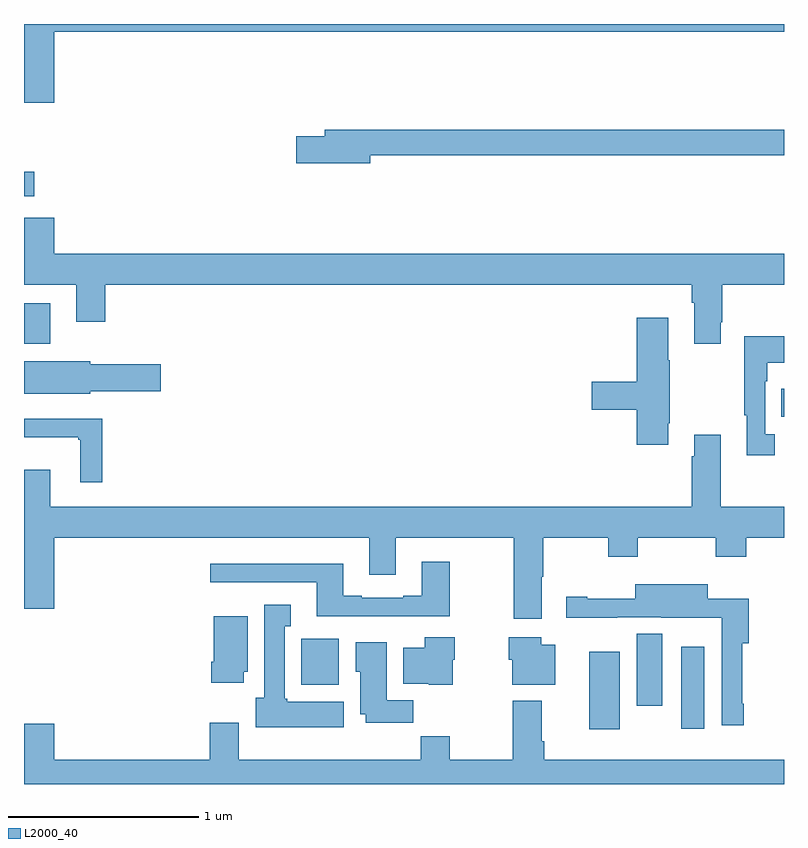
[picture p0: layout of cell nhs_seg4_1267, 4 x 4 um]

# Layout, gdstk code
import gdstk
lib = gdstk.Library(unit=1e-6, precision=1e-09)
def R(c, l, rs):  # rectangles x0, y0, x1, y1
    for r in rs: c.add(gdstk.rectangle(r[:2], r[2:], *l))
def P(c, l, *ps):  # polygons
    for p in ps: c.add(gdstk.Polygon(p, *l))
L2000_40 = (2000, 40)

nhs_seg4_1267 = lib.new_cell('nhs_seg4_1267')
R(nhs_seg4_1267, L2000_40, [(179.975,753.189,180.136,753.595), (180.458,753.192,180.58,753.622), (180.224,753.312,180.358,753.691), (178.46,753.422,178.657,753.664), (180.985,754.834,181,754.981), (177,755.217,177.139,755.431), (177,755.993,177.055,756.123)])
P(nhs_seg4_1267, L2000_40, [(177.16,756.86),(181,756.86),(181,756.9),(177,756.9),(177,756.486),(177.16,756.486)],
  [(178.822,756.208),(181,756.208),(181,756.344),(178.583,756.344),(178.583,756.308),(178.434,756.308),(178.434,756.166),(178.822,756.166)],
  [(180.667,755.329),(180.675,755.329),(180.675,755.528),(181,755.528),(181,755.692),(177.16,755.692),(177.16,755.881),(177,755.881),(177,755.528),(177.275,755.528),(177.275,755.334),(177.428,755.334),(177.428,755.528),(180.515,755.528),(180.515,755.432),(180.527,755.432),(180.527,755.217),(180.667,755.217)],
  [(180.391,754.798),(180.399,754.798),(180.399,755.129),(180.391,755.129),(180.391,755.353),(180.224,755.353),(180.224,755.018),(179.988,755.018),(179.988,754.871),(180.224,754.871),(180.224,754.686),(180.391,754.686)],
  [(180.952,754.742),(180.9,754.742),(180.9,755.021),(180.913,755.021),(180.913,755.117),(181,755.117),(181,755.257),(180.792,755.257),(180.792,754.841),(180.803,754.841),(180.803,754.629),(180.952,754.629)],
  [(177.348,754.967),(177.721,754.967),(177.721,755.109),(177.348,755.109),(177.348,755.125),(177,755.125),(177,754.955),(177.348,754.955)],
  [(177.413,754.822),(177,754.822),(177,754.724),(177.285,754.724),(177.285,754.713),(177.296,754.713),(177.296,754.488),(177.413,754.488)],
  [(179.725,753.992),(179.733,753.992),(179.733,754.196),(180.076,754.196),(180.076,754.097),(180.231,754.097),(180.231,754.196),(180.64,754.196),(180.64,754.097),(180.8,754.097),(180.8,754.196),(181,754.196),(181,754.36),(180.667,754.36),(180.667,754.738),(180.527,754.738),(180.527,754.625),(180.515,754.625),(180.515,754.36),(177.139,754.36),(177.139,754.555),(177,754.555),(177,753.822),(177.16,753.822),(177.16,754.196),(178.817,754.196),(178.817,754.002),(178.957,754.002),(178.957,754.196),(179.578,754.196),(179.578,753.771),(179.725,753.771)],
  [(179.241,754.069),(179.093,754.069),(179.093,753.892),(178.997,753.892),(178.997,753.879),(178.777,753.879),(178.777,753.892),(178.681,753.892),(178.681,754.06),(177.981,754.06),(177.981,753.963),(178.541,753.963),(178.541,753.782),(179.241,753.782)],
  [(180.788,753.322),(180.781,753.322),(180.781,753.641),(180.815,753.641),(180.815,753.876),(180.598,753.876),(180.598,753.952),(180.218,753.952),(180.218,753.876),(179.965,753.876),(179.965,753.886),(179.853,753.886),(179.853,753.776),(180.122,753.776),(180.122,753.777),(180.354,753.777),(180.354,753.776),(180.672,753.776),(180.672,753.21),(180.788,753.21)],
  [(178.684,753.334),(178.386,753.334),(178.386,753.348),(178.372,753.348),(178.372,753.731),(178.405,753.731),(178.405,753.844),(178.265,753.844),(178.265,753.354),(178.22,753.354),(178.22,753.2),(178.684,753.2)],
  [(178.156,753.492),(178.177,753.492),(178.177,753.784),(177.998,753.784),(177.998,753.544),(177.986,753.544),(177.986,753.432),(178.156,753.432)],
  [(179.256,753.555),(179.266,753.555),(179.266,753.673),(179.108,753.673),(179.108,753.616),(178.997,753.616),(178.997,753.428),(179.13,753.428),(179.13,753.422),(179.256,753.422)],
  [(179.797,753.634),(179.723,753.634),(179.723,753.673),(179.552,753.673),(179.552,753.555),(179.57,753.555),(179.57,753.422),(179.797,753.422)],
  [(179.048,753.34),(178.909,753.34),(178.909,753.646),(178.745,753.646),(178.745,753.492),(178.769,753.492),(178.769,753.266),(178.799,753.266),(178.799,753.222),(179.048,753.222)],
  [(177.977,753.028),(177.16,753.028),(177.16,753.217),(177,753.217),(177,752.9),(181,752.9),(181,753.028),(179.738,753.028),(179.738,753.124),(179.725,753.124),(179.725,753.337),(179.573,753.337),(179.573,753.028),(179.241,753.028),(179.241,753.152),(179.089,753.152),(179.089,753.028),(178.129,753.028),(178.129,753.223),(177.977,753.223)])

lib.write_gds('nhs_seg4_1267.gds')
